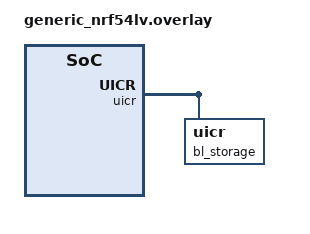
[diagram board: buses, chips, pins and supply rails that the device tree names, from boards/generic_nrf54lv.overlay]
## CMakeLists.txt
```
#
# Copyright (c) 2025 Nordic Semiconductor
#
# SPDX-License-Identifier: LicenseRef-Nordic-5-Clause
#

cmake_minimum_required(VERSION 3.20.0)

find_package(Zephyr REQUIRED HINTS $ENV{ZEPHYR_BASE})
project(boot_lock_kmu_keys)

target_sources(app PRIVATE src/main.c)
```

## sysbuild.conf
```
#
# Copyright (c) 2025 Nordic Semiconductor ASA
#
# SPDX-License-Identifier: LicenseRef-Nordic-5-Clause
#

# This file is only used by boot.kmu_keys_lock.smoke_test, which builds no
# bootloader at all. BOOT_SIGNATURE_KEY_FILE depends on BOOTLOADER_MCUBOOT and
# SECURE_BOOT_SIGNING_KEY_FILE depends on SECURE_BOOT, so both assignments were
# dropped here. The scenarios that do build a bootloader now pick up the key
# file from the matching sysbuild_<FILE_SUFFIX>.conf.
# SB_CONFIG_BOOT_SIGNATURE_KEY_FILE="\${APPLICATION_CONFIG_DIR}/private_key.pem"
# SB_CONFIG_SECURE_BOOT_SIGNING_KEY_FILE="\${APPLICATION_CONFIG_DIR}/private_key.pem"
```

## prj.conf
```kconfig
#
# Copyright (c) 2025 Nordic Semiconductor ASA
#
# SPDX-License-Identifier: LicenseRef-Nordic-5-Clause
#
CONFIG_ZTEST=y
CONFIG_ARM_MPU=n

CONFIG_PSA_CRYPTO=y
CONFIG_PSA_WANT_ALG_PURE_EDDSA=y
CONFIG_PSA_WANT_ECC_TWISTED_EDWARDS_255=y
CONFIG_MBEDTLS_ENABLE_HEAP=y
```

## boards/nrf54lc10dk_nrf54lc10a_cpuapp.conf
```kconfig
CONFIG_ZTEST_STACK_SIZE=2048
```

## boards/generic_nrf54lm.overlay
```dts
/*
 * Copyright (c) 2026 Nordic Semiconductor ASA
 *
 * SPDX-License-Identifier: LicenseRef-Nordic-5-Clause
 */

/* Control identifiers to define before inclusion, to indicate what
 * bootloaders are used with the project:
 * - TEST_WITH_B0 -- to enable B0 as bootloader
 * - TEST_WITH_MCUBOOT -- to enable MCUboot as primary or secondary
 *                        bootloader.
 *
 * Sysbuild images should define ONE of the below, before including
 * the overlay from this boards directory:
 *  - THIS_IS_B0_IMAGE -- indicates B0 overlay
 *  - THIS_IS_MCUBOOT_IMAGE -- indicates MCUboot image overlay
 *
 * Note that there is not APP indicating image, as it is default one.
 */

&cpuapp_rram {
	/delete-node/ partitions;

	partitions {
		#address-cells = <1>;
		#size-cells = <1>;

		boot_partition: b0_partition: partition@0 {
			compatible = "zephyr,mapped-partition";
			reg = <0x0 DT_SIZE_K(64)>;
		};

		a_partition: partition@10000 {
			compatible = "zephyr,mapped-partition";
			reg = <0x10000 DT_SIZE_K(64)>;
		};

		b_partition: partition@20000 {
			compatible = "zephyr,mapped-partition";
			reg = <0x20000 DT_SIZE_K(64)>;
		};

		c_partition: partition@30000 {
			compatible = "zephyr,mapped-partition";
			reg = <0x30000 DT_SIZE_K(920)>;
		};

		d_partition: partition@116000 {
			compatible = "zephyr,mapped-partition";
			reg = <0x116000 DT_SIZE_K(920)>;
		};
	};
};

#if defined(TEST_WITH_B0) && !defined(TEST_WITH_MCUBOOT)
/* With B0 and MCUboot there is b0 + s0 + s1 + slot0 + slot1 layout */
s0_partition: &c_partition {};
s1_partition: &d_partition {};
#elif defined(TEST_WITH_B0) && defined(TEST_WITH_MCUBOOT)
/* With B0 only there is b0 + s0 + s1 layout */
s0_partition: &a_partition {};
s1_partition: &b_partition {};
slot0_partition: &c_partition {};
slot1_partition: &d_partition {};
#elif !defined(TEST_WITH_B0) && defined(TEST_WITH_MCUBOOT)
boot_partition: &b0_partition {};
slot0_partition: &c_partition {};
slot1_partition: &d_partition {};
#endif

/ {
	chosen {
#if defined(THIS_IS_B0_IMAGE)
		zephyr,code-partition = &b0_partition;
#elif defined(TEST_WITH_B0) && \
      (!defined(TEST_WITH_MCUBOOT) && !defined(THIS_IS_B0_IMAGE) || \
       defined(TEST_WITH_MCUBOOT) && defined(THIS_IS_MCUBOOT_IMAGE))
/* Either MCUboot or application directly controlled by B0 */
		zephyr,code-partition = &s0_partition;
#elif defined(THIS_IS_MCUBOOT_IMAGE) && !defined(TEST_WITH_B0)
		zephyr,code-partition = &boot_partition;
#else /* This is application image */
		zephyr,code-partition = &slot0_partition;
#endif
	};
};
```

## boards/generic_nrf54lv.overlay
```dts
/*
 * Copyright (c) 2026 Nordic Semiconductor ASA
 *
 * SPDX-License-Identifier: LicenseRef-Nordic-5-Clause
 */

/* Control identifiers to define before inclusion, to indicate what
 * bootloaders are used with the project:
 * - TEST_WITH_B0 -- to enable B0 as bootloader
 * - TEST_WITH_MCUBOOT -- to enable MCUboot as primary or secondary
 *                        bootloader.
 *
 * Sysbuild images should define ONE of the below, before including
 * the overlay from this boards directory:
 *  - THIS_IS_B0_IMAGE -- indicates B0 overlay
 *  - THIS_IS_MCUBOOT_IMAGE -- indicates MCUboot image overlay
 *
 * Note that there is not APP indicating image, as it is default one.
 */

&cpuapp_rram {
	/delete-node/ partitions;

	partitions {
		#address-cells = <1>;
		#size-cells = <1>;

		boot_partition: b0_partition: partition@0 {
			compatible = "zephyr,mapped-partition";
			reg = <0x0 DT_SIZE_K(64)>;
		};

		a_partition: partition@10000 {
			compatible = "zephyr,mapped-partition";
			reg = <0x10000 DT_SIZE_K(64)>;
		};

		b_partition: partition@20000 {
			compatible = "zephyr,mapped-partition";
			reg = <0x20000 DT_SIZE_K(64)>;
		};

		c_partition: partition@30000 {
			compatible = "zephyr,mapped-partition";
			reg = <0x30000 DT_SIZE_K(152)>;
		};

		d_partition: partition@56000 {
			compatible = "zephyr,mapped-partition";
			reg = <0x56000 DT_SIZE_K(152)>;
		};
	};
};

#if defined(TEST_WITH_B0) && !defined(TEST_WITH_MCUBOOT)
/* With B0 and MCUboot there is b0 + s0 + s1 + slot0 + slot1 layout */
s0_partition: &c_partition {};
s1_partition: &d_partition {};
#elif defined(TEST_WITH_B0) && defined(TEST_WITH_MCUBOOT)
/* With B0 only there is b0 + s0 + s1 layout */
s0_partition: &a_partition {};
s1_partition: &b_partition {};
slot0_partition: &c_partition {};
slot1_partition: &d_partition {};
#elif !defined(TEST_WITH_B0) && defined(TEST_WITH_MCUBOOT)
boot_partition: &b0_partition {};
slot0_partition: &c_partition {};
slot1_partition: &d_partition {};
#endif

/ {
	chosen {
#if defined(THIS_IS_B0_IMAGE)
		zephyr,code-partition = &b0_partition;
#elif defined(TEST_WITH_B0) && \
      (!defined(TEST_WITH_MCUBOOT) && !defined(THIS_IS_B0_IMAGE) || \
       defined(TEST_WITH_MCUBOOT) && defined(THIS_IS_MCUBOOT_IMAGE))
/* Either MCUboot or application directly controlled by B0 */
		zephyr,code-partition = &s0_partition;
#elif defined(THIS_IS_MCUBOOT_IMAGE) && !defined(TEST_WITH_B0)
		zephyr,code-partition = &boot_partition;
#else /* This is application image */
		zephyr,code-partition = &slot0_partition;
#endif
	};
};

/* Remove when added in common definitions */
&uicr {
	#address-cells = <1>;
	#size-cells = <1>;

	bl_storage: uicr@500 {
		reg = <0x500 0x460>;
	};
};
```

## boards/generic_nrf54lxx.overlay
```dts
/*
 * Copyright (c) 2026 Nordic Semiconductor ASA
 *
 * SPDX-License-Identifier: LicenseRef-Nordic-5-Clause
 */

/* Control identifiers to define before inclusion, to indicate what
 * bootloaders are used with the project:
 * - TEST_WITH_B0 -- to enable B0 as bootloader
 * - TEST_WITH_MCUBOOT -- to enable MCUboot as primary or secondary
 *                        bootloader.
 *
 * Sysbuild images should define ONE of the below, before including
 * the overlay from this boards directory:
 *  - THIS_IS_B0_IMAGE -- indicates B0 overlay
 *  - THIS_IS_MCUBOOT_IMAGE -- indicates MCUboot image overlay
 *
 * Note that there is not APP indicating image, as it is default one.
 */

&cpuapp_rram {
	/delete-node/ partitions;

	partitions {
		#address-cells = <1>;
		#size-cells = <1>;

		boot_partition: b0_partition: partition@0 {
			compatible = "zephyr,mapped-partition";
			reg = <0x0 DT_SIZE_K(64)>;
		};

		a_partition: partition@10000 {
			compatible = "zephyr,mapped-partition";
			reg = <0x10000 DT_SIZE_K(128)>;
		};

		b_partition: partition@30000 {
			compatible = "zephyr,mapped-partition";
			reg = <0x30000 DT_SIZE_K(128)>;
		};

		c_partition: partition@50000 {
			compatible = "zephyr,mapped-partition";
			reg = <0x50000 DT_SIZE_K(128)>;
		};

		d_partition: partition@70000 {
			compatible = "zephyr,mapped-partition";
			reg = <0x70000 DT_SIZE_K(128)>;
		};
	};
};

#if defined(TEST_WITH_B0) && !defined(TEST_WITH_MCUBOOT)
/* With B0 and MCUboot there is b0 + s0 + s1 + slot0 + slot1 layout */
s0_partition: &c_partition {};
s1_partition: &d_partition {};
#elif defined(TEST_WITH_B0) && defined(TEST_WITH_MCUBOOT)
/* With B0 only there is b0 + s0 + s1 layout */
s0_partition: &a_partition {};
s1_partition: &b_partition {};
slot0_partition: &c_partition {};
slot1_partition: &d_partition {};
#elif !defined(TEST_WITH_B0) && defined(TEST_WITH_MCUBOOT)
boot_partition: &b0_partition {};
slot0_partition: &c_partition {};
slot1_partition: &d_partition {};
#endif

/ {
	chosen {
#if defined(THIS_IS_B0_IMAGE)
		zephyr,code-partition = &b0_partition;
#elif defined(TEST_WITH_B0) && \
      (!defined(TEST_WITH_MCUBOOT) && !defined(THIS_IS_B0_IMAGE) || \
       defined(TEST_WITH_MCUBOOT) && defined(THIS_IS_MCUBOOT_IMAGE))
/* Either MCUboot or application directly controlled by B0 */
		zephyr,code-partition = &s0_partition;
#elif defined(THIS_IS_MCUBOOT_IMAGE) && !defined(TEST_WITH_B0)
		zephyr,code-partition = &boot_partition;
#else /* This is application image */
		zephyr,code-partition = &slot0_partition;
#endif
	};
};
```

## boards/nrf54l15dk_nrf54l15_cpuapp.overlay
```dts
/*
 * Copyright (c) 2026 Nordic Semiconductor ASA
 *
 * SPDX-License-Identifier: LicenseRef-Nordic-5-Clause
 */

#define TEST_WITH_B0

#include "generic_nrf54lxx.overlay"
```

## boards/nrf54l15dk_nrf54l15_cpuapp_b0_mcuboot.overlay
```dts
/*
 * Copyright (c) 2026 Nordic Semiconductor ASA
 *
 * SPDX-License-Identifier: LicenseRef-Nordic-5-Clause
 */

#define TEST_WITH_B0
#define TEST_WITH_MCUBOOT

#include "generic_nrf54lxx.overlay"
```

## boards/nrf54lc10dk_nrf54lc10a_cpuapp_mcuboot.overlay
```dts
/*
 * Copyright (c) 2026 Nordic Semiconductor ASA
 *
 * SPDX-License-Identifier: LicenseRef-Nordic-5-Clause
 */

#include "nrf54lc10dk_nrf54lc10a_cpuapp.overlay"

/ {
	chosen {
		zephyr,code-partition = &slot0_partition;
	};
};
```

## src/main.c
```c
/*
 * Copyright (c) 2025 Nordic Semiconductor ASA
 *
 * SPDX-License-Identifier: LicenseRef-Nordic-5-Clause
 */

#include <zephyr/ztest.h>
#include <psa/crypto.h>
#include <cracen_psa_kmu.h>

#define PSA_KEY_INDEX_SIZE 2
#define PSA_KEY_STARTING_ID_BL 226
#define PSA_KEY_STARTING_ID_UROT 242

#define MAKE_PSA_KMU_KEY_ID(id) \
	PSA_KEY_ID_FROM_CRACEN_KMU_SLOT(CRACEN_KMU_KEY_USAGE_SCHEME_RAW, id)

static psa_key_id_t key_ids[] =  {
	MAKE_PSA_KMU_KEY_ID(PSA_KEY_STARTING_ID_BL),
	MAKE_PSA_KMU_KEY_ID(PSA_KEY_STARTING_ID_BL + PSA_KEY_INDEX_SIZE),
	MAKE_PSA_KMU_KEY_ID(PSA_KEY_STARTING_ID_BL + (2 * PSA_KEY_INDEX_SIZE)),
	MAKE_PSA_KMU_KEY_ID(PSA_KEY_STARTING_ID_UROT),
	MAKE_PSA_KMU_KEY_ID(PSA_KEY_STARTING_ID_UROT + PSA_KEY_INDEX_SIZE),
	MAKE_PSA_KMU_KEY_ID(PSA_KEY_STARTING_ID_UROT + (2 * PSA_KEY_INDEX_SIZE)),
};

#if defined(CONFIG_BOOTLOADER_MCUBOOT)
#define BUILD_WITH_B0 (CONFIG_MCUBOOT_MCUBOOT_IMAGE_NUMBER != -1)
#else
#define BUILD_WITH_B0 CONFIG_SECURE_BOOT
#endif


#if defined(CONFIG_BOOTLOADER_MCUBOOT) && !BUILD_WITH_B0
static bool locked[] = {false, false, false, true, true, true};
#elif !defined(CONFIG_BOOTLOADER_MCUBOOT) && BUILD_WITH_B0
static bool locked[] = {false, false, false, true, true, true};
#elif defined(CONFIG_BOOTLOADER_MCUBOOT) && BUILD_WITH_B0
static bool locked[] = {true, true, true, true, true, true};
#else
/* No bootloader is used, so all keys should be unlocked */
static bool locked[] = {false, false, false, false, false, false};
#endif

#define EDDSA_SIGNATURE_LENGTH  64

uint8_t signature[EDDSA_SIGNATURE_LENGTH] = {
	0x30, 0x31, 0x80, 0x08, 0x97, 0xe0, 0x90, 0x50,
	0xca, 0x3a, 0xe9, 0x01, 0xd5, 0x99, 0x24, 0x63,
	0x79, 0x73, 0x6a, 0x54, 0xe0, 0x95, 0x14, 0x33,
	0x77, 0x6b, 0xb6, 0xc4, 0x33, 0xc8, 0xbc, 0xcb,
	0x31, 0xfc, 0xb2, 0x30, 0xe2, 0x09, 0x2e, 0x74,
	0x76, 0xcf, 0x18, 0xc3, 0xc3, 0xe7, 0x74, 0x96,
	0x7e, 0xd0, 0xc4, 0x16, 0xb2, 0xf4, 0x9f, 0x08,
	0x37, 0x6e, 0x83, 0x23, 0x6d, 0xf5, 0x25, 0x0a
};
uint8_t message[12] = {0x01, 0x02, 0x03, 0x04, 0x05, 0x06, 0x07, 0x08, 0x09, 0x0a, 0x0b, 0x0c};

ZTEST(bootloader_kmu_keys_lock, test_smoke_test_keys_unlocked)
{
	psa_status_t status = PSA_ERROR_BAD_STATE;
	psa_key_id_t key_id = 0;

	zassert_equal(psa_crypto_init(), PSA_SUCCESS);

	for (int i = 0; i < ARRAY_SIZE(key_ids); i++) {
		key_id = key_ids[i];
		printk("Verifying if key 0x%x is locked, should be %s\n", key_id,
		       locked[i] ? "locked" : "unlocked");
		status = psa_verify_message(key_id, PSA_ALG_PURE_EDDSA, message,
					     sizeof(message), signature,
					     sizeof(signature));
		if (locked[i]) {
			zassert_equal(status, PSA_ERROR_INVALID_ARGUMENT,
				      "Key 0x%x should be locked (expected status %d, got %d)",
				      key_id, PSA_ERROR_INVALID_ARGUMENT, status);
		} else {
			zassert_equal(status, PSA_SUCCESS,
				      "Key 0x%x should be unlocked (expected status %d, got %d)",
				      key_id, PSA_SUCCESS, status);
		}
	}
}

ZTEST_SUITE(bootloader_kmu_keys_lock, NULL, NULL, NULL, NULL, NULL);
```
